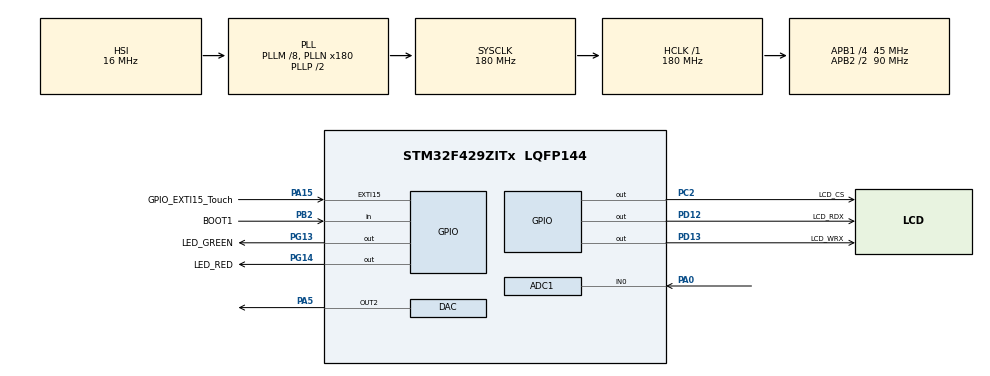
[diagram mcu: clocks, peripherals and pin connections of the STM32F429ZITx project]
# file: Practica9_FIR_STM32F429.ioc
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ADC1.Channel-0\#ChannelRegularConversion=ADC_CHANNEL_0
ADC1.ContinuousConvMode=DISABLE
ADC1.NbrOfConversionFlag=1
ADC1.Rank-0\#ChannelRegularConversion=1
ADC1.SamplingTime-0\#ChannelRegularConversion=ADC_SAMPLETIME_3CYCLES
ADC1.master=1
DAC.DAC_OutputBuffer2=DAC_OUTPUTBUFFER_ENABLE
DAC.DAC_Trigger2=DAC_TRIGGER_NONE
Dma.DAC2.0.Direction=DMA_MEMORY_TO_PERIPH
Dma.DAC2.0.FIFOMode=DMA_FIFOMODE_DISABLE
Dma.DAC2.0.Instance=DMA1_Stream6
Dma.DAC2.0.MemDataAlignment=DMA_MDATAALIGN_HALFWORD
Dma.DAC2.0.MemInc=DMA_MINC_ENABLE
Dma.DAC2.0.Mode=DMA_NORMAL
Dma.DAC2.0.PeriphDataAlignment=DMA_PDATAALIGN_HALFWORD
Dma.DAC2.0.PeriphInc=DMA_PINC_DISABLE
Dma.DAC2.0.Priority=DMA_PRIORITY_LOW
Dma.Request0=DAC2
Mcu.Family=STM32F4
Mcu.Name=STM32F429ZITx
Mcu.Package=LQFP144
NVIC.DMA1_Stream6_IRQn=true\:0\:0\:false\:false\:true\:false\:true\:true
NVIC.EXTI15_10_IRQn=true\:0\:0\:false\:false\:true\:true\:true\:true
NVIC.PriorityGroup=NVIC_PRIORITYGROUP_4
NVIC.TIM3_IRQn=true\:0\:0\:false\:false\:true\:true\:true\:true
PA0/WKUP.Signal=ADCx_IN0
PA13.Signal=SYS_JTMS-SWDIO
PA14.Signal=SYS_JTCK-SWCLK
PA15.GPIO_Label=GPIO_EXTI15_Touch
PA15.GPIO_ModeDefaultEXTI=GPIO_MODE_IT_FALLING
PA15.GPIO_PuPd=GPIO_PULLUP
PA15.Signal=GPXTI15
PA4.Signal=COMP_DAC1_group
PA5.Signal=COMP_DAC2_group
PA8.GPIO_Speed=GPIO_SPEED_FREQ_HIGH
PA8.Signal=I2C3_SCL
PB2/BOOT1.GPIO_Label=BOOT1
PB2/BOOT1.GPIO_PuPd=GPIO_PULLUP
PB2/BOOT1.Signal=GPIO_Input
PC2.GPIO_Label=LCD_CS
PC2.GPIO_Speed=GPIO_SPEED_FREQ_VERY_HIGH
PC2.PinState=GPIO_PIN_SET
PC2.Signal=GPIO_Output
PC9.GPIO_Speed=GPIO_SPEED_FREQ_HIGH
PC9.Signal=I2C3_SDA
PD12.GPIO_Label=LCD_RDX
PD12.GPIO_Speed=GPIO_SPEED_FREQ_VERY_HIGH
PD12.Signal=GPIO_Output
PD13.GPIO_Label=LCD_WRX
PD13.GPIO_Speed=GPIO_SPEED_FREQ_VERY_HIGH
PD13.Signal=GPIO_Output
PF7.Signal=SPI5_SCK
PF8.Signal=SPI5_MISO
PF9.Signal=SPI5_MOSI
PG13.GPIO_Label=LED_GREEN
PG13.Signal=GPIO_Output
PG14.GPIO_Label=LED_RED
PG14.Signal=GPIO_Output
PH0/OSC_IN.Mode=HSE-External-Oscillator
PH0/OSC_IN.Signal=RCC_OSC_IN
PH1/OSC_OUT.Mode=HSE-External-Oscillator
PH1/OSC_OUT.Signal=RCC_OSC_OUT
ProjectManager.HeapSize=0x200
ProjectManager.StackSize=0x400
ProjectManager.TargetToolchain=STM32CubeIDE
RCC.48MHZClocksFreq_Value=90000000
RCC.AHBFreq_Value=180000000
RCC.APB1CLKDivider=RCC_HCLK_DIV4
RCC.APB1Freq_Value=45000000
RCC.APB1TimFreq_Value=90000000
RCC.APB2CLKDivider=RCC_HCLK_DIV2
RCC.APB2Freq_Value=90000000
RCC.APB2TimFreq_Value=180000000
RCC.CortexFreq_Value=180000000
RCC.HCLKFreq_Value=180000000
RCC.HSE_VALUE=8000000
RCC.HSI_VALUE=16000000
RCC.LSE_VALUE=32768
RCC.PLLM=8
RCC.PLLN=180
RCC.SYSCLKFreq_VALUE=180000000
RCC.SYSCLKSource=RCC_SYSCLKSOURCE_PLLCLK
RCC.VCOOutputFreq_Value=360000000
SH.ADCx_IN0.0=ADC1_IN0,IN0
SH.COMP_DAC1_group.0=DAC_OUT1
SH.COMP_DAC2_group.0=DAC_OUT2,DAC_OUT2
TIM3.Period=731
TIM3.Prescaler=5
VP_TIM3_VS_ClockSourceINT.Mode=Internal
board=custom

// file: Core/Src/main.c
/* USER CODE BEGIN Header */
/**
  ******************************************************************************
  * @file           : main.c
  * @brief          : Main program body
  ******************************************************************************
  * @attention
  *
  * Copyright (c) 2022 STMicroelectronics.
  * All rights reserved.
  *
  * This software is licensed under terms that can be found in the LICENSE file
  * in the root directory of this software component.
  * If no LICENSE file comes with this software, it is provided AS-IS.
  *
  ******************************************************************************
  */
/* USER CODE END Header */
#include "main.h"

/* USER CODE BEGIN Includes */
#include <stdbool.h>
#include <stdio.h>
#include <stdlib.h>
#include <string.h>
#include <math.h>
#include <limits.h>
/* USER CODE END Includes */

ADC_HandleTypeDef hadc1;

DAC_HandleTypeDef hdac;
DMA_HandleTypeDef hdma_dac2;

TIM_HandleTypeDef htim3;

void SystemClock_Config(void);
static void MX_GPIO_Init(void);
static void MX_DMA_Init(void);
static void MX_ADC1_Init(void);
static void MX_DAC_Init(void);
static void MX_TIM3_Init(void);

/* USER CODE BEGIN 0 */

//----------- TOUCH ------------------------------------------------------------
uint16_t TP_X;
uint16_t TP_Y;

//----------- VARIABLES DE USUARIO -------------------------
float PI = 3.1415926535897932384626433832795;
int i = 0, j = 0, k = 0;
float adc_val = 0,area_actual=0,area_anterior=0, ampli = 0, auxL2 = 0,auxL3=0;			// Salida del filtro
uint16_t L = 0, L2 = 0;					// Auxiliar
int ITboton = 0;							// Bandera para interrupción del touch
long senal[50];								// Vector de muestras
float offset=2040;
// Coeficientes de los filtros
long B[16] = {0, 0, 0, 0, 0, 0, 0, 10000, 0, 0, 0, 0, 0, 0, 0, 0}; // Normal

// Función para calcular la integral utilizando el método del rectángulo

//-------------- Interrupcion del TIM3 20KHz ---------------------------
void HAL_TIM_PeriodElapsedCallback(TIM_HandleTypeDef *htim) {
    float Ts = 0.000032; // Tiempo de muestreo
  //  const long max_yt = LONG_MAX - 10000; // Límite superior para yt
    // Leer el valor actual del ADC
    HAL_ADC_Start(&hadc1);
    HAL_ADC_PollForConversion(&hadc1, HAL_MAX_DELAY);
    adc_val = HAL_ADC_GetValue(&hadc1) - offset;
//    senal[0] = HAL_ADC_GetValue(&hadc1) - 2048;	// ADC - 2048

    // Realizar la integración discreta de la señal de entrada utilizando el método del rectángulo
    //    yt += senal[0];

    // Muestrear la integral y aplicar amplificación
//    long  y = yt * Ts;
   // auxL = (long)y-2048; // Escalar y ajustar para el DAC
    area_actual=area_anterior+(adc_val*Ts);
    area_anterior=area_actual;

    ampli = 2.0 * PI *800; // Amplificación del sistema después de la integración
    area_actual= (area_actual*ampli)+offset;
    	//Actualizar el valor de salida en el DAC
    HAL_DAC_SetValue(&hdac, DAC_CHANNEL_2, DAC_ALIGN_12B_R, area_actual);

    // Alternar el pin LED si se alcanza el valor límite
/*    L2++;
    if (L2 == 10000) {
        L2 = 0;
        HAL_GPIO_TogglePin(LED_RED_GPIO_Port, LED_RED_Pin);
//    }*/
}

/* USER CODE END 0 */

int main(void)
{

  /* MCU Configuration--------------------------------------------------------*/

  /* Reset of all peripherals, Initializes the Flash interface and the Systick. */
  HAL_Init();

  /* Configure the system clock */
  SystemClock_Config();

  /* Initialize all configured peripherals */
  MX_GPIO_Init();
  MX_ADC1_Init();
  MX_DAC_Init();
  MX_TIM3_Init();
  /* USER CODE BEGIN 2 */

  //preparar para borrado de linea
  for(i=0;i<15;i++)
  {
	  senal[i]=0;
  }
  HAL_DAC_Start(&hdac, DAC_CHANNEL_2); 		//Inicializar DAC CH2
  HAL_TIM_Base_Start_IT(&htim3);			//inicializa interrupciones de overflow del timer3

  /* USER CODE END 2 */

  /* Infinite loop */
  while (1)
  {
	  }

  }

void SystemClock_Config(void)
{
  RCC_OscInitTypeDef RCC_OscInitStruct = {0};
  RCC_ClkInitTypeDef RCC_ClkInitStruct = {0};

  /** Configure the main internal regulator output voltage
  */
  __HAL_RCC_PWR_CLK_ENABLE();
  __HAL_PWR_VOLTAGESCALING_CONFIG(PWR_REGULATOR_VOLTAGE_SCALE1);

  /** Initializes the RCC Oscillators according to the specified parameters
  * in the RCC_OscInitTypeDef structure.
  */
  RCC_OscInitStruct.OscillatorType = RCC_OSCILLATORTYPE_HSI;
  RCC_OscInitStruct.HSIState = RCC_HSI_ON;
  RCC_OscInitStruct.HSICalibrationValue = RCC_HSICALIBRATION_DEFAULT;
  RCC_OscInitStruct.PLL.PLLState = RCC_PLL_ON;
  RCC_OscInitStruct.PLL.PLLSource = RCC_PLLSOURCE_HSI;
  RCC_OscInitStruct.PLL.PLLM = 8;
  RCC_OscInitStruct.PLL.PLLN = 180;
  RCC_OscInitStruct.PLL.PLLP = RCC_PLLP_DIV2;
  RCC_OscInitStruct.PLL.PLLQ = 4;
  if (HAL_RCC_OscConfig(&RCC_OscInitStruct) != HAL_OK)
  {
    Error_Handler();
  }

  /** Activate the Over-Drive mode
  */
  if (HAL_PWREx_EnableOverDrive() != HAL_OK)
  {
    Error_Handler();
  }

  /** Initializes the CPU, AHB and APB buses clocks
  */
  RCC_ClkInitStruct.ClockType = RCC_CLOCKTYPE_HCLK|RCC_CLOCKTYPE_SYSCLK
                              |RCC_CLOCKTYPE_PCLK1|RCC_CLOCKTYPE_PCLK2;
  RCC_ClkInitStruct.SYSCLKSource = RCC_SYSCLKSOURCE_PLLCLK;
  RCC_ClkInitStruct.AHBCLKDivider = RCC_SYSCLK_DIV1;
  RCC_ClkInitStruct.APB1CLKDivider = RCC_HCLK_DIV4;
  RCC_ClkInitStruct.APB2CLKDivider = RCC_HCLK_DIV2;

  if (HAL_RCC_ClockConfig(&RCC_ClkInitStruct, FLASH_LATENCY_5) != HAL_OK)
  {
    Error_Handler();
  }
}

static void MX_ADC1_Init(void)
{

  ADC_ChannelConfTypeDef sConfig = {0};

  /** Configure the global features of the ADC (Clock, Resolution, Data Alignment and number of conversion)
  */
  hadc1.Instance = ADC1;
  hadc1.Init.ClockPrescaler = ADC_CLOCK_SYNC_PCLK_DIV4;
  hadc1.Init.Resolution = ADC_RESOLUTION_12B;
  hadc1.Init.ScanConvMode = DISABLE;
  hadc1.Init.ContinuousConvMode = DISABLE;
  hadc1.Init.DiscontinuousConvMode = DISABLE;
  hadc1.Init.ExternalTrigConvEdge = ADC_EXTERNALTRIGCONVEDGE_NONE;
  hadc1.Init.ExternalTrigConv = ADC_SOFTWARE_START;
  hadc1.Init.DataAlign = ADC_DATAALIGN_RIGHT;
  hadc1.Init.NbrOfConversion = 1;
  hadc1.Init.DMAContinuousRequests = DISABLE;
  hadc1.Init.EOCSelection = ADC_EOC_SINGLE_CONV;
  if (HAL_ADC_Init(&hadc1) != HAL_OK)
  {
    Error_Handler();
  }

  /** Configure for the selected ADC regular channel its corresponding rank in the sequencer and its sample time.
  */
  sConfig.Channel = ADC_CHANNEL_0;
  sConfig.Rank = 1;
  sConfig.SamplingTime = ADC_SAMPLETIME_3CYCLES;
  if (HAL_ADC_ConfigChannel(&hadc1, &sConfig) != HAL_OK)
  {
    Error_Handler();
  }

}

static void MX_DAC_Init(void)
{

  DAC_ChannelConfTypeDef sConfig = {0};

  /** DAC Initialization
  */
  hdac.Instance = DAC;
  if (HAL_DAC_Init(&hdac) != HAL_OK)
  {
    Error_Handler();
  }

  /** DAC channel OUT2 config
  */
  sConfig.DAC_Trigger = DAC_TRIGGER_NONE;
  sConfig.DAC_OutputBuffer = DAC_OUTPUTBUFFER_ENABLE;
  if (HAL_DAC_ConfigChannel(&hdac, &sConfig, DAC_CHANNEL_2) != HAL_OK)
  {
    Error_Handler();
  }

}

static void MX_TIM3_Init(void)
{

  TIM_ClockConfigTypeDef sClockSourceConfig = {0};
  TIM_MasterConfigTypeDef sMasterConfig = {0};

  htim3.Instance = TIM3;
  htim3.Init.Prescaler = 5;
  htim3.Init.CounterMode = TIM_COUNTERMODE_UP;
  htim3.Init.Period = 731;
  htim3.Init.ClockDivision = TIM_CLOCKDIVISION_DIV1;
  htim3.Init.AutoReloadPreload = TIM_AUTORELOAD_PRELOAD_DISABLE;
  if (HAL_TIM_Base_Init(&htim3) != HAL_OK)
  {
    Error_Handler();
  }
  sClockSourceConfig.ClockSource = TIM_CLOCKSOURCE_INTERNAL;
  if (HAL_TIM_ConfigClockSource(&htim3, &sClockSourceConfig) != HAL_OK)
  {
    Error_Handler();
  }
  sMasterConfig.MasterOutputTrigger = TIM_TRGO_RESET;
  sMasterConfig.MasterSlaveMode = TIM_MASTERSLAVEMODE_DISABLE;
  if (HAL_TIMEx_MasterConfigSynchronization(&htim3, &sMasterConfig) != HAL_OK)
  {
    Error_Handler();
  }

}

static void MX_DMA_Init(void)
{

  /* DMA controller clock enable */
  __HAL_RCC_DMA1_CLK_ENABLE();

  /* DMA interrupt init */
  /* DMA1_Stream6_IRQn interrupt configuration */
  HAL_NVIC_SetPriority(DMA1_Stream6_IRQn, 0, 0);
  HAL_NVIC_EnableIRQ(DMA1_Stream6_IRQn);

}

static void MX_GPIO_Init(void)
{
  GPIO_InitTypeDef GPIO_InitStruct = {0};

  /* GPIO Ports Clock Enable */
  __HAL_RCC_GPIOF_CLK_ENABLE();
  __HAL_RCC_GPIOH_CLK_ENABLE();
  __HAL_RCC_GPIOC_CLK_ENABLE();
  __HAL_RCC_GPIOA_CLK_ENABLE();
  __HAL_RCC_GPIOB_CLK_ENABLE();
  __HAL_RCC_GPIOD_CLK_ENABLE();
  __HAL_RCC_GPIOG_CLK_ENABLE();

  /*Configure GPIO pin Output Level */
  HAL_GPIO_WritePin(LCD_CS_GPIO_Port, LCD_CS_Pin, GPIO_PIN_SET);

  /*Configure GPIO pin Output Level */
  HAL_GPIO_WritePin(GPIOD, LCD_RDX_Pin|LCD_WRX_Pin, GPIO_PIN_RESET);

  /*Configure GPIO pin Output Level */
  HAL_GPIO_WritePin(GPIOG, LED_GREEN_Pin|LED_RED_Pin, GPIO_PIN_RESET);

  /*Configure GPIO pins : PF7 PF8 PF9 */
  GPIO_InitStruct.Pin = GPIO_PIN_7|GPIO_PIN_8|GPIO_PIN_9;
  GPIO_InitStruct.Mode = GPIO_MODE_AF_PP;
  GPIO_InitStruct.Pull = GPIO_NOPULL;
  GPIO_InitStruct.Speed = GPIO_SPEED_FREQ_VERY_HIGH;
  GPIO_InitStruct.Alternate = GPIO_AF5_SPI5;
  HAL_GPIO_Init(GPIOF, &GPIO_InitStruct);

  /*Configure GPIO pin : LCD_CS_Pin */
  GPIO_InitStruct.Pin = LCD_CS_Pin;
  GPIO_InitStruct.Mode = GPIO_MODE_OUTPUT_PP;
  GPIO_InitStruct.Pull = GPIO_NOPULL;
  GPIO_InitStruct.Speed = GPIO_SPEED_FREQ_VERY_HIGH;
  HAL_GPIO_Init(LCD_CS_GPIO_Port, &GPIO_InitStruct);

  /*Configure GPIO pin : BOOT1_Pin */
  GPIO_InitStruct.Pin = BOOT1_Pin;
  GPIO_InitStruct.Mode = GPIO_MODE_INPUT;
  GPIO_InitStruct.Pull = GPIO_PULLUP;
  HAL_GPIO_Init(BOOT1_GPIO_Port, &GPIO_InitStruct);

  /*Configure GPIO pins : LCD_RDX_Pin LCD_WRX_Pin */
  GPIO_InitStruct.Pin = LCD_RDX_Pin|LCD_WRX_Pin;
  GPIO_InitStruct.Mode = GPIO_MODE_OUTPUT_PP;
  GPIO_InitStruct.Pull = GPIO_NOPULL;
  GPIO_InitStruct.Speed = GPIO_SPEED_FREQ_VERY_HIGH;
  HAL_GPIO_Init(GPIOD, &GPIO_InitStruct);

  /*Configure GPIO pin : PC9 */
  GPIO_InitStruct.Pin = GPIO_PIN_9;
  GPIO_InitStruct.Mode = GPIO_MODE_AF_OD;
  GPIO_InitStruct.Pull = GPIO_NOPULL;
  GPIO_InitStruct.Speed = GPIO_SPEED_FREQ_HIGH;
  GPIO_InitStruct.Alternate = GPIO_AF4_I2C3;
  HAL_GPIO_Init(GPIOC, &GPIO_InitStruct);

  /*Configure GPIO pin : PA8 */
  GPIO_InitStruct.Pin = GPIO_PIN_8;
  GPIO_InitStruct.Mode = GPIO_MODE_AF_OD;
  GPIO_InitStruct.Pull = GPIO_NOPULL;
  GPIO_InitStruct.Speed = GPIO_SPEED_FREQ_HIGH;
  GPIO_InitStruct.Alternate = GPIO_AF4_I2C3;
  HAL_GPIO_Init(GPIOA, &GPIO_InitStruct);

  /*Configure GPIO pin : GPIO_EXTI15_Touch_Pin */
  GPIO_InitStruct.Pin = GPIO_EXTI15_Touch_Pin;
  GPIO_InitStruct.Mode = GPIO_MODE_IT_FALLING;
  GPIO_InitStruct.Pull = GPIO_PULLUP;
  HAL_GPIO_Init(GPIO_EXTI15_Touch_GPIO_Port, &GPIO_InitStruct);

  /*Configure GPIO pins : LED_GREEN_Pin LED_RED_Pin */
  GPIO_InitStruct.Pin = LED_GREEN_Pin|LED_RED_Pin;
  GPIO_InitStruct.Mode = GPIO_MODE_OUTPUT_PP;
  GPIO_InitStruct.Pull = GPIO_NOPULL;
  GPIO_InitStruct.Speed = GPIO_SPEED_FREQ_LOW;
  HAL_GPIO_Init(GPIOG, &GPIO_InitStruct);

  /* EXTI interrupt init*/
  HAL_NVIC_SetPriority(EXTI15_10_IRQn, 0, 0);
  HAL_NVIC_EnableIRQ(EXTI15_10_IRQn);

}

void Error_Handler(void)
{
  __disable_irq();
  while (1)
  {
  }
}
